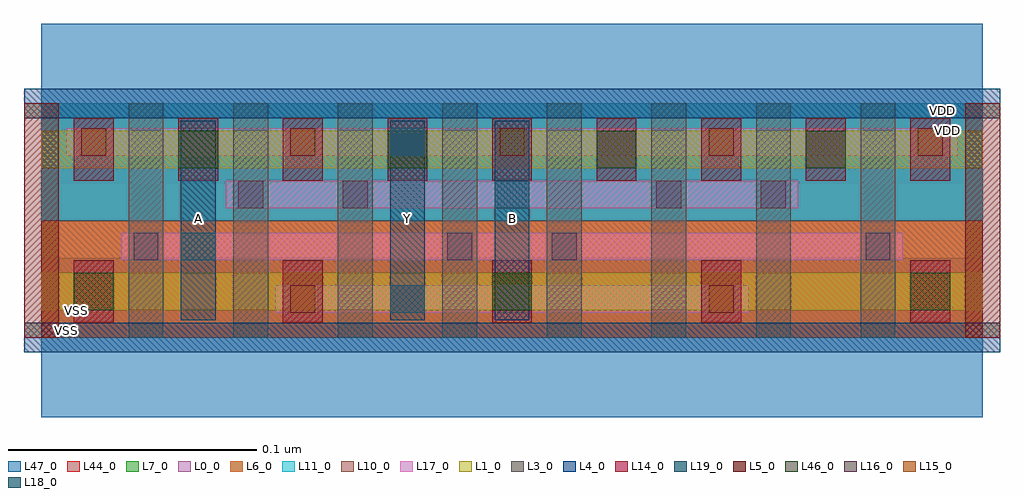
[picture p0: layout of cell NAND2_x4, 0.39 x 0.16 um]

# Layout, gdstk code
import gdstk
lib = gdstk.Library(unit=1e-6, precision=5e-10)
def R(c, l, rs):  # rectangles x0, y0, x1, y1
    for r in rs: c.add(gdstk.rectangle(r[:2], r[2:], *l))
def A(c, l, x, y, w, h, nx, ny, dx, dy):  # array of equal rectangles
    R(c, l, [(x+i*dx, y+j*dy, x+i*dx+w, y+j*dy+h) for i in range(nx) for j in range(ny)])
L0_0 = (0, 0)
L1_0 = (1, 0)
L3_0 = (3, 0)
L4_0 = (4, 0)
L5_0 = (5, 0)
L6_0 = (6, 0)
L7_0 = (7, 0)
L10_0 = (10, 0)
L11_0 = (11, 0)
L14_0 = (14, 0)
L15_0 = (15, 0)
L16_0 = (16, 0)
L17_0 = (17, 0)
L18_0 = (18, 0)
L19_0 = (19, 0)
L44_0 = (44, 0)
L46_0 = (46, 0)
L47_0 = (47, 0)

nand2_x4 = lib.new_cell('NAND2_x4')
R(nand2_x4, L0_0, [(0,0.047,0.378,0.094)])
R(nand2_x4, L1_0, [(0,0.011,0.378,0.026), (0,0.068,0.378,0.083)])
A(nand2_x4, L3_0, 0.035, 0, 0.014, 0.094, 8, 1, 0.042, 0)
R(nand2_x4, L4_0, [(-0.007,-0.006,0.385,0.006), (-0.007,0.088,0.385,0.1)])
R(nand2_x4, L5_0, [(-0.007,0,0.007,0.094), (0.371,0,0.385,0.094)])
R(nand2_x4, L6_0, [(0,0,0.378,0.047)])
R(nand2_x4, L7_0, [(0,0.047,0.378,0.094)])
R(nand2_x4, L10_0, [(0,0,0.378,0.047)])
R(nand2_x4, L11_0, [(0,0.047,0.378,0.094)])
A(nand2_x4, L14_0, 0.013, 0.006, 0.016, 0.025, 5, 1, 0.084, 0)
A(nand2_x4, L14_0, 0.013, 0.063, 0.016, 0.025, 9, 1, 0.042, 0)
A(nand2_x4, L15_0, 0.016, 0.073, 0.01, 0.011, 5, 1, 0.084, 0)
R(nand2_x4, L15_0, [(0.1,0.01,0.11,0.021), (0.268,0.01,0.278,0.021)])
R(nand2_x4, L16_0, [(0.037,0.031,0.047,0.042), (0.163,0.031,0.173,0.042), (0.205,0.031,0.215,0.042), (0.331,0.031,0.341,0.042), (0.079,0.052,0.089,0.063), (0.121,0.052,0.131,0.063), (0.247,0.052,0.257,0.063), (0.289,0.052,0.299,0.063)])
R(nand2_x4, L17_0, [(0.094,0.01,0.284,0.021), (0.032,0.031,0.346,0.042), (0.074,0.052,0.304,0.063), (0.01,0.073,0.368,0.084)])
R(nand2_x4, L18_0, [(0.14,0.01,0.154,0.021), (0.056,0.031,0.07,0.042), (0.182,0.052,0.196,0.063), (0.14,0.073,0.154,0.084)])
R(nand2_x4, L19_0, [(0.056,0.007,0.07,0.087), (0.14,0.007,0.154,0.087), (0.182,0.007,0.196,0.087)])
R(nand2_x4, L44_0, [(0,0,0.378,0.094)])
A(nand2_x4, L46_0, 0.013, 0.011, 0.016, 0.015, 3, 1, 0.168, 0)
A(nand2_x4, L46_0, 0.055, 0.068, 0.016, 0.015, 4, 1, 0.084, 0)
R(nand2_x4, L47_0, [(0,-0.032,0.378,0.032), (0,0.062,0.378,0.126)])
nand2_x4.add(gdstk.Label('VDD', (0.362,0.091), layer=0, texttype=2))
nand2_x4.add(gdstk.Label('VSS', (0.014,0.011), layer=47, texttype=2))
nand2_x4.add(gdstk.Label('VDD', (0.364,0.083), layer=47, texttype=2))
nand2_x4.add(gdstk.Label('A', (0.063,0.048), layer=19, texttype=2))
nand2_x4.add(gdstk.Label('Y', (0.147,0.048), layer=19, texttype=2))
nand2_x4.add(gdstk.Label('B', (0.189,0.048), layer=19, texttype=2))
nand2_x4.add(gdstk.Label('VSS', (0.01,0.003), layer=54, texttype=2))

lib.write_gds('NAND2_x4.gds')
